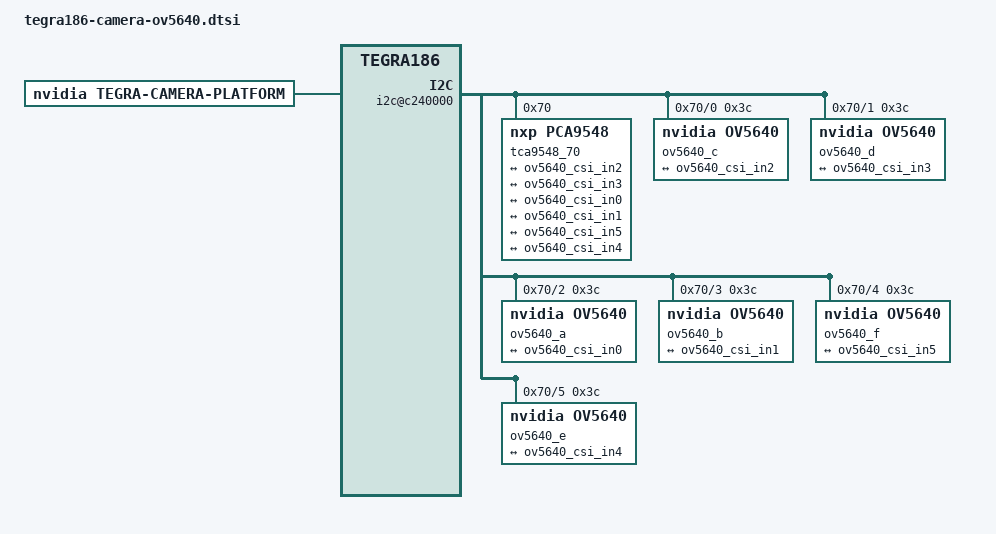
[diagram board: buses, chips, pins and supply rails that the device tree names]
/*
 * Copyright (c) 2015-2017, NVIDIA CORPORATION.  All rights reserved.
 *
 * This program is free software; you can redistribute it and/or modify
 * it under the terms of the GNU General Public License as published by
 * the Free Software Foundation; either version 2 of the License, or
 * (at your option) any later version.
 *
 * This program is distributed in the hope that it will be useful, but WITHOUT
 * ANY WARRANTY; without even the implied warranty of MERCHANTABILITY or
 * FITNESS FOR A PARTICULAR PURPOSE.  See the GNU General Public License for
 * more details.
 *
 * You should have received a copy of the GNU General Public License
 * along with this program.  If not, see <http://www.gnu.org/licenses/>.
 */
#define CAMERA_I2C_MUX_BUS(x) (0x1E + x)
/ {
	host1x {
		vi@15700000 {
			num-channels = <6>;
			ports {
				#address-cells = <1>;
				#size-cells = <0>;
				port@0 {
					reg = <0>;
					ov5640_vi_in0: endpoint {
						csi-port = <0>;
						bus-width = <2>;
						remote-endpoint = <&ov5640_csi_out0>;
					};
				};
				port@1 {
					reg = <1>;
					ov5640_vi_in1: endpoint {
						csi-port = <1>;
						bus-width = <2>;
						remote-endpoint = <&ov5640_csi_out1>;
					};
				};
				port@2 {
					reg = <2>;
					ov5640_vi_in2: endpoint {
						csi-port = <2>;
						bus-width = <2>;
						remote-endpoint = <&ov5640_csi_out2>;
					};
				};
				port@3 {
					reg = <3>;
					ov5640_vi_in3: endpoint {
						csi-port = <3>;
						bus-width = <2>;
						remote-endpoint = <&ov5640_csi_out3>;
					};
				};
				port@4 {
					reg = <4>;
					ov5640_vi_in4: endpoint {
						csi-port = <4>;
						bus-width = <2>;
						remote-endpoint = <&ov5640_csi_out4>;
					};
				};
				port@5 {
					reg = <5>;
					ov5640_vi_in5: endpoint {
						csi-port = <5>;
						bus-width = <2>;
						remote-endpoint = <&ov5640_csi_out5>;
					};
				};
			};
		};

		nvcsi@150c0000 {
			num-channels = <6>;
			#address-cells = <1>;
			#size-cells = <0>;
			channel@0 {
				reg = <0>;
				ports {
					#address-cells = <1>;
					#size-cells = <0>;
					port@0 {
						reg = <0>;
						ov5640_csi_in0: endpoint@0 {
							csi-port = <0>;
							bus-width = <2>;
							remote-endpoint = <&ov5640_out0>;
						};
					};
					port@1 {
						reg = <1>;
						ov5640_csi_out0: endpoint@1 {
							remote-endpoint = <&ov5640_vi_in0>;
						};
					};
				};
			};
			channel@1 {
				reg = <1>;
				ports {
					#address-cells = <1>;
					#size-cells = <0>;
					port@0 {
						reg = <0>;
						ov5640_csi_in1: endpoint@0 {
							csi-port = <1>;
							bus-width = <2>;
							remote-endpoint = <&ov5640_out1>;
						};
					};
					port@1 {
						reg = <1>;
						ov5640_csi_out1: endpoint@1 {
							remote-endpoint = <&ov5640_vi_in1>;
						};
					};
				};
			};
			channel@2 {
				reg = <2>;
				ports {
					#address-cells = <1>;
					#size-cells = <0>;
					port@0 {
						reg = <0>;
						ov5640_csi_in2: endpoint@0 {
							csi-port = <2>;
							bus-width = <2>;
							remote-endpoint = <&ov5640_out2>;
						};
					};
					port@1 {
						reg = <1>;
						ov5640_csi_out2: endpoint@1 {
							remote-endpoint = <&ov5640_vi_in2>;
						};
					};
				};
			};
			channel@3 {
				reg = <3>;
				ports {
					#address-cells = <1>;
					#size-cells = <0>;
					port@0 {
						reg = <0>;
						ov5640_csi_in3: endpoint@0 {
							csi-port = <3>;
							bus-width = <2>;
							remote-endpoint = <&ov5640_out3>;
						};
					};
					port@1 {
						reg = <1>;
						ov5640_csi_out3: endpoint@1 {
							remote-endpoint = <&ov5640_vi_in3>;
						};
					};
				};
			};
			channel@4 {
				reg = <4>;
				ports {
					#address-cells = <1>;
					#size-cells = <0>;
					port@0 {
						reg = <0>;
						ov5640_csi_in4: endpoint@0 {
							csi-port = <4>;
							bus-width = <2>;
							remote-endpoint = <&ov5640_out4>;
						};
					};
					port@1 {
						reg = <1>;
						ov5640_csi_out4: endpoint@1 {
							remote-endpoint = <&ov5640_vi_in4>;
						};
					};
				};
			};
			channel@5 {
				reg = <5>;
				ports {
					#address-cells = <1>;
					#size-cells = <0>;
					port@0 {
						reg = <0>;
						ov5640_csi_in5: endpoint@0 {
							csi-port = <5>;
							bus-width = <2>;
							remote-endpoint = <&ov5640_out5>;
						};
					};
					port@1 {
						reg = <1>;
						ov5640_csi_out5: endpoint@1 {
							remote-endpoint = <&ov5640_vi_in5>;
						};
					};
				};
			};	
		};
	};

	i2c@c240000 {

		tca9548_70: tca9548@70 {

			compatible = "nxp,pca9548";

			reg = <0x70>;

			#address-cells = <1>;

			#size-cells = <0>;

			force_bus_start = <CAMERA_I2C_MUX_BUS(0)>;

			i2c@0 {
				reg = <0>;
				i2c-mux,deselect-on-exit;
				#address-cells = <1>;
				#size-cells = <0>;

				ov5640_c@3c {
					devnode = "video0";
					compatible = "nvidia,ov5640";
					/* I2C device address */
					reg = <0x3c>;

					/* V4L2 device node location */

					/* Physical dimensions of sensor */
					physical_w = "3.674";
					physical_h = "2.738";

					/* Define any required hw resources needed by driver */
					/* ie. clocks, io pins, power sources */
					avdd-reg = "vana";
					iovdd-reg = "vif";

					/* Sensor output flip settings */
					vertical-flip = "true";

					/**
					* A modeX node is required to support v4l2 driver
					* implementation with NVIDIA camera software stack
					*
					* mclk_khz = "";
					* Standard MIPI driving clock, typically 24MHz
					*
					* num_lanes = "";
					* Number of lane channels sensor is programmed to output
					*
					* tegra_sinterface = "";
					* The base tegra serial interface lanes are connected to
					*
					* discontinuous_clk = "";
					* The sensor is programmed to use a discontinuous clock on MIPI lanes
					*
					* dpcm_enable = "true";
					* The sensor is programmed to use a DPCM modes
					*
					* cil_settletime = "";
					* MIPI lane settle time value.
					* A "0" value attempts to autocalibrate based on mclk_multiplier
					*
					*
					*
					*
					* active_w = "";
					* Pixel active region width
					*
					* active_h = "";
					* Pixel active region height
					*
					* pixel_t = "";
					* The sensor readout pixel pattern
					*
					* readout_orientation = "0";
					* Based on camera module orientation.
					* Only change readout_orientation if you specifically
					* Program a different readout order for this mode
					*
					* line_length = "";
					* Pixel line length (width) for sensor mode.
					* This is used to calibrate features in our camera stack.
					*
					* mclk_multiplier = "";
					* Multiplier to MCLK to help time hardware capture sequence
					* TODO: Assign to PLL_Multiplier as well until fixed in core
					*
					* pix_clk_hz = "";
					* Sensor pixel clock used for calculations like exposure and framerate
					*
					*
					*
					*
					* inherent_gain = "";
					* Gain obtained inherently from mode (ie. pixel binning)
					*
					* min_gain_val = ""; (floor to 6 decimal places)
					* max_gain_val = ""; (floor to 6 decimal places)
					* Gain limits for mode
					*
					* min_exp_time = ""; (ceil to integer)
					* max_exp_time = ""; (ceil to integer)
					* Exposure Time limits for mode (us)
					*
					*
					* min_hdr_ratio = "";
					* max_hdr_ratio = "";
					* HDR Ratio limits for mode
					*
					* min_framerate = "";
					* max_framerate = "";
					* Framerate limits for mode (fps)
					*/
					mode1 { //OV5693_MODE_1920x1080
						mclk_khz = "24000";
						num_lanes = "2";
						tegra_sinterface = "serial_c";
						discontinuous_clk = "no";
						dpcm_enable = "false";
						cil_settletime = "0";

						active_w = "1920";
						active_h = "1080";
						pixel_t = "uyvy";
						readout_orientation = "90";
						line_length = "2500";
						inherent_gain = "1";
						mclk_multiplier = "5.25";
						pix_clk_hz = "160000000";

						min_gain_val = "0";
						max_gain_val = "48";
						min_hdr_ratio = "1";
						max_hdr_ratio = "1";
						min_framerate = "1.816577";
						max_framerate = "30";
						min_exp_time = "34";
						max_exp_time = "660000";
						embedded_metadata_height = "0";
					};

					

					ports {
						#address-cells = <1>;
						#size-cells = <0>;

						port@0 {
							reg = <0>;
							ov5640_out2: endpoint {
								csi-port = <2>;
								bus-width = <2>;
								remote-endpoint = <&ov5640_csi_in2>;
							};
						};
					};
		
				};	
	
			};


			

			i2c@1 {

				reg = <1>;

				i2c-mux,deselect-on-exit;

				#address-cells = <1>;

				#size-cells = <0>;

				ov5640_d@3c {
					devnode = "video1";
					compatible = "nvidia,ov5640";
					/* I2C device address */
					reg = <0x3c>;

					/* V4L2 device node location */

					/* Physical dimensions of sensor */
					physical_w = "3.674";
					physical_h = "2.738";

					/* Define any required hw resources needed by driver */
					/* ie. clocks, io pins, power sources */
					avdd-reg = "vana";
					iovdd-reg = "vif";

					/* Sensor output flip settings */
					vertical-flip = "true";	

					mode1 { //OV5693_MODE_1920x1080
						mclk_khz = "24000";
						num_lanes = "2";
						tegra_sinterface = "serial_d";
						discontinuous_clk = "no";
						dpcm_enable = "false";
						cil_settletime = "0";

						active_w = "1920";
						active_h = "1080";
						pixel_t = "uyvy";
						readout_orientation = "90";
						line_length = "2500";
						inherent_gain = "1";
						mclk_multiplier = "5.25";
						pix_clk_hz = "160000000";

						min_gain_val = "0";
						max_gain_val = "48";
						min_hdr_ratio = "1";
						max_hdr_ratio = "1";
						min_framerate = "1.816577";
						max_framerate = "30";
						min_exp_time = "34";
						max_exp_time = "660000";
						embedded_metadata_height = "0";
					};

					ports {
						#address-cells = <1>;
						#size-cells = <0>;

						port@0 {
							reg = <0>;
							ov5640_out3: endpoint {
								csi-port = <3>;
								bus-width = <2>;
								remote-endpoint = <&ov5640_csi_in3>;
							};
						};
					};
		
				};		

			};

			i2c@2 {

				reg = <2>;

				i2c-mux,deselect-on-exit;

				#address-cells = <1>;

				#size-cells = <0>;
				ov5640_a@3c {
					devnode = "video2";
					compatible = "nvidia,ov5640";
					/* I2C device address */
					reg = <0x3c>;

					/* V4L2 device node location */

					/* Physical dimensions of sensor */
					physical_w = "3.674";
					physical_h = "2.738";

					/* Define any required hw resources needed by driver */
					/* ie. clocks, io pins, power sources */
					avdd-reg = "vana";
					iovdd-reg = "vif";

					/* Sensor output flip settings */
					vertical-flip = "true";

					mode1 { //OV5693_MODE_1920x1080
						mclk_khz = "24000";
						num_lanes = "2";
						tegra_sinterface = "serial_a";
						discontinuous_clk = "no";
						dpcm_enable = "false";
						cil_settletime = "0";

						active_w = "1920";
						active_h = "1080";
						pixel_t = "uyvy";
						readout_orientation = "90";
						line_length = "2500";
						inherent_gain = "1";
						mclk_multiplier = "5.25";
						pix_clk_hz = "160000000";

						min_gain_val = "0";
						max_gain_val = "48";
						min_hdr_ratio = "1";
						max_hdr_ratio = "1";
						min_framerate = "1.816577";
						max_framerate = "30";
						min_exp_time = "34";
						max_exp_time = "660000";
						embedded_metadata_height = "0";
					};
				
					ports {
						#address-cells = <1>;
						#size-cells = <0>;

						port@0 {
							reg = <0>;
							ov5640_out0: endpoint {
								csi-port = <0>;
								bus-width = <2>;
								remote-endpoint = <&ov5640_csi_in0>;
							};
						};
					};
		
				};	
			

			};

			i2c@3 {

				reg = <3>;

				i2c-mux,deselect-on-exit;

				#address-cells = <1>;

				#size-cells = <0>;

				ov5640_b@3c {
					devnode = "video3";
					compatible = "nvidia,ov5640";
					/* I2C device address */
					reg = <0x3c>;

					/* V4L2 device node location */

					/* Physical dimensions of sensor */
					physical_w = "3.674";
					physical_h = "2.738";

					/* Define any required hw resources needed by driver */
					/* ie. clocks, io pins, power sources */
					avdd-reg = "vana";
					iovdd-reg = "vif";

					/* Sensor output flip settings */
					vertical-flip = "true";
		
					mode1 { //OV5693_MODE_1920x1080
						mclk_khz = "24000";
						num_lanes = "2";
						tegra_sinterface = "serial_b";
						discontinuous_clk = "no";
						dpcm_enable = "false";
						cil_settletime = "0";

						active_w = "1920";
						active_h = "1080";
						pixel_t = "uyvy";
						readout_orientation = "90";
						line_length = "2500";
						inherent_gain = "1";
						mclk_multiplier = "5.25";
						pix_clk_hz = "160000000";

						min_gain_val = "0";
						max_gain_val = "48";
						min_hdr_ratio = "1";
						max_hdr_ratio = "1";
						min_framerate = "1.816577";
						max_framerate = "30";
						min_exp_time = "34";
						max_exp_time = "660000";
						embedded_metadata_height = "0";
					};
					
					ports {
						#address-cells = <1>;
						#size-cells = <0>;

						port@0 {
							reg = <0>;
							ov5640_out1: endpoint {
								csi-port = <1>;
								bus-width = <2>;
								remote-endpoint = <&ov5640_csi_in1>;
							};
						};
					};
		
				};

			};

			i2c@4 {

				reg = <4>;

				i2c-mux,deselect-on-exit;

				#address-cells = <1>;

				#size-cells = <0>;

				ov5640_f@3c {
					devnode = "video4";
					compatible = "nvidia,ov5640";
					/* I2C device address */
					reg = <0x3c>;

					/* V4L2 device node location */

					/* Physical dimensions of sensor */
					physical_w = "3.674";
					physical_h = "2.738";

					/* Define any required hw resources needed by driver */
					/* ie. clocks, io pins, power sources */
					avdd-reg = "vana";
					iovdd-reg = "vif";

					/* Sensor output flip settings */
					vertical-flip = "true";
				
					mode1 { //OV5693_MODE_1920x1080
						mclk_khz = "24000";
						num_lanes = "2";
						tegra_sinterface = "serial_f";
						discontinuous_clk = "no";
						dpcm_enable = "false";
						cil_settletime = "0";

						active_w = "1920";
						active_h = "1080";
						pixel_t = "uyvy";
						readout_orientation = "90";
						line_length = "2500";
						inherent_gain = "1";
						mclk_multiplier = "5.25";
						pix_clk_hz = "160000000";

						min_gain_val = "0";
						max_gain_val = "48";
						min_hdr_ratio = "1";
						max_hdr_ratio = "1";
						min_framerate = "1.816577";
						max_framerate = "30";
						min_exp_time = "34";
						max_exp_time = "660000";
						embedded_metadata_height = "0";
					};

					ports {
						#address-cells = <1>;
						#size-cells = <0>;

						port@0 {
							reg = <0>;
							ov5640_out5: endpoint {
								csi-port = <5>;
								bus-width = <2>;
								remote-endpoint = <&ov5640_csi_in5>;
							};
						};
					};
		
				};

			};

			i2c@5 {

				reg = <5>;

				i2c-mux,deselect-on-exit;

				#address-cells = <1>;

				#size-cells = <0>;

				ov5640_e@3c {
					devnode = "video5";
					compatible = "nvidia,ov5640";
					/* I2C device address */
					reg = <0x3c>;

					/* V4L2 device node location */

					/* Physical dimensions of sensor */
					physical_w = "3.674";
					physical_h = "2.738";

					/* Define any required hw resources needed by driver */
					/* ie. clocks, io pins, power sources */
					avdd-reg = "vana";
					iovdd-reg = "vif";

					/* Sensor output flip settings */
					vertical-flip = "true";
	

					mode1 { //OV5693_MODE_1920x1080
						mclk_khz = "24000";
						num_lanes = "2";
						tegra_sinterface = "serial_e";
						discontinuous_clk = "no";
						dpcm_enable = "false";
						cil_settletime = "0";

						active_w = "1920";
						active_h = "1080";
						pixel_t = "uyvy";
						readout_orientation = "90";
						line_length = "2500";
						inherent_gain = "1";
						mclk_multiplier = "5.25";
						pix_clk_hz = "160000000";

						min_gain_val = "0";
						max_gain_val = "48";
						min_hdr_ratio = "1";
						max_hdr_ratio = "1";
						min_framerate = "1.816577";
						max_framerate = "30";
						min_exp_time = "34";
						max_exp_time = "660000";
						embedded_metadata_height = "0";
					};

					ports {
						#address-cells = <1>;
						#size-cells = <0>;

						port@0 {
							reg = <0>;
							ov5640_out4: endpoint {
								csi-port = <4>;
								bus-width = <2>;
								remote-endpoint = <&ov5640_csi_in4>;
							};
						};
					};
		
				};

			};

			i2c@6 {

				reg = <6>;

				i2c-mux,deselect-on-exit;

				#address-cells = <1>;

				#size-cells = <0>;

			};

			i2c@7 {

				reg = <7>;

				i2c-mux,deselect-on-exit;

				#address-cells = <1>;

				#size-cells = <0>;

			};
	


	 	};
	
	 };
	tegra-camera-platform {
		compatible = "nvidia, tegra-camera-platform";
		/**
		* Physical settings to calculate max ISO BW
		*
		* num_csi_lanes = <>;
		* Total number of CSI lanes when all cameras are active
		*
		* max_lane_speed = <>;
		* Max lane speed in Kbit/s
		*
		* min_bits_per_pixel = <>;
		* Min bits per pixel
		*
		* vi_peak_byte_per_pixel = <>;
		* Max byte per pixel for the VI ISO case
		*
		* vi_bw_margin_pct = <>;
		* Vi bandwidth margin in percentage
		*
		* max_pixel_rate = <>;
		* Max pixel rate in Kpixel/s for the ISP ISO case
		*
		* isp_peak_byte_per_pixel = <>;
		* Max byte per pixel for the ISP ISO case
		*
		* isp_bw_margin_pct = <>;
		* Isp bandwidth margin in percentage
		*/
		num_csi_lanes = <12>;
		max_lane_speed = <1500000>;
		min_bits_per_pixel = <10>;
		vi_peak_byte_per_pixel = <2>;
		vi_bw_margin_pct = <25>;
		max_pixel_rate = <160000>;
		isp_peak_byte_per_pixel = <5>;
		isp_bw_margin_pct = <25>;

		/**
		* The general guideline for naming badge_info contains 3 parts, and is as follows,
		* The first part is the camera_board_id for the module; if the module is in a FFD
		* platform, then use the platform name for this part.
		* The second part contains the position of the module, ex. “rear” or “front”.
		* The third part contains the last 6 characters of a part number which is found
		* in the module's specsheet from the vender.
		*/
		modules {
			module0 {
				badge = "ov5640_0";
				position = "topleft";
				orientation = "1";
				drivernode0 {
					/* Declare PCL support driver (classically known as guid)  */
					pcl_id = "v4l2_sensor";
					/* Driver v4l2 device name */
					devname = "ov5640 30-003c";
					/* Declare the device-tree hierarchy to driver instance */
					proc-device-tree = "/proc/device-tree/i2c@c240000/tca9548@70/i2c@0/ov5640_c@3c";
				};
				
			};
			module1 {
				badge = "ov5640_1";
				position = "topright";
				orientation = "1";
				drivernode0 {
					/* Declare PCL support driver (classically known as guid)  */
					pcl_id = "v4l2_sensor";
					/* Driver v4l2 device name */
					devname = "ov5640 31-003c";
					/* Declare the device-tree hierarchy to driver instance */
					proc-device-tree = "/proc/device-tree/i2c@c240000/tca9548@70/i2c@1/ov5640_d@3c";
				};
				
			};
			module2 {
				badge = "ov5640_2";
				position = "bottomleft";
				orientation = "1";
				drivernode0 {
					/* Declare PCL support driver (classically known as guid)  */
					pcl_id = "v4l2_sensor";
					/* Driver v4l2 device name */
					devname = "ov5640 32-003c";
					/* Declare the device-tree hierarchy to driver instance */
					proc-device-tree = "/proc/device-tree/i2c@c240000/tca9548@70/i2c@2/ov5640_a@3c";
				};
				
			};
			module3 {
				badge = "ov5640_3";
				position = "bottomright";
				orientation = "1";
				drivernode0 {
					/* Declare PCL support driver (classically known as guid)  */
					pcl_id = "v4l2_sensor";
					/* Driver v4l2 device name */
					devname = "ov5640 33-003c";
					/* Declare the device-tree hierarchy to driver instance */
					proc-device-tree = "/proc/device-tree/i2c@c240000/tca9548@70/i2c@3/ov5640_b@3c";
				};
				
			};

			module4 {
				badge = "ov5640_4";
				position = "centerleft";
				orientation = "1";
				drivernode0 {
					/* Declare PCL support driver (classically known as guid)  */
					pcl_id = "v4l2_sensor";
					/* Driver v4l2 device name */
					devname = "ov5640 34-003c";
					/* Declare the device-tree hierarchy to driver instance */
					proc-device-tree = "/proc/device-tree/i2c@c240000/tca9548@70/i2c@4/ov5640_f@3c";
				};
				
			};
			module5 {
				badge = "ov5640_5";
				position = "centerright";
				orientation = "1";
				drivernode0 {
					/* Declare PCL support driver (classically known as guid)  */
					pcl_id = "v4l2_sensor";
					/* Driver v4l2 device name */
					devname = "ov5640 35-003c";
					/* Declare the device-tree hierarchy to driver instance */
					proc-device-tree = "/proc/device-tree/i2c@c240000/tca9548@70/i2c@5/ov5640_e@3c";
				};
				
			};
		};
	};
};
